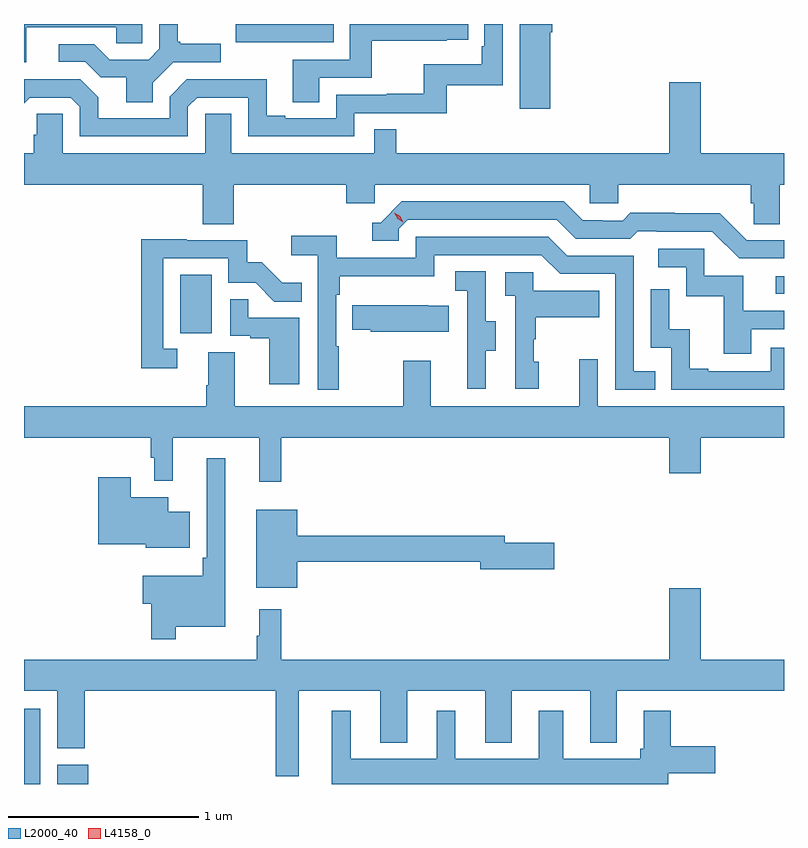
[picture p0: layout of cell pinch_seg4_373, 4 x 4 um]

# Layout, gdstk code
import gdstk
lib = gdstk.Library(unit=1e-6, precision=1e-09)
def R(c, l, rs):  # rectangles x0, y0, x1, y1
    for r in rs: c.add(gdstk.rectangle(r[:2], r[2:], *l))
def P(c, l, *ps):  # polygons
    for p in ps: c.add(gdstk.Polygon(p, *l))
L2000_40 = (2000, 40)
L4158_0 = (4158, 0)

pinch_seg4_373 = lib.new_cell('pinch_seg4_373')
R(pinch_seg4_373, L2000_40, [(1000.771,767.025,1000.857,767.422), (1000.946,767.025,1001.108,767.127), (1001.594,769.398,1001.758,769.705), (1004.727,769.605,1004.771,769.698)])
P(pinch_seg4_373, L2000_40, [(1001.634,770.589),(1001.682,770.637),(1001.952,770.637),(1001.952,770.433),(1002.51,770.433),(1002.51,770.556),(1002.997,770.556),(1002.997,770.703),(1003.29,770.703),(1003.29,771.025),(1003.194,771.025),(1003.194,770.908),(1003.181,770.908),(1003.181,770.812),(1002.876,770.812),(1002.876,770.657),(1002.679,770.657),(1002.679,770.652),(1002.414,770.652),(1002.414,770.529),(1002.145,770.529),(1002.145,770.542),(1002.049,770.542),(1002.049,770.735),(1001.844,770.735),(1001.844,770.733),(1001.628,770.733),(1001.538,770.643),(1001.538,770.529),(1001.161,770.529),(1001.161,770.639),(1001.067,770.733),(1000.771,770.733),(1000.771,770.608),(1000.8,770.637),(1001.016,770.637),(1001.064,770.589),(1001.064,770.433),(1001.634,770.433)],
  [(1002.325,770.742),(1002.602,770.742),(1002.602,770.938),(1002.995,770.938),(1002.995,770.943),(1003.108,770.943),(1003.108,771.025),(1002.486,771.025),(1002.486,770.838),(1002.185,770.838),(1002.185,770.614),(1002.325,770.614)],
  [(1000.783,771.009),(1001.257,771.009),(1001.257,770.925),(1001.394,770.925),(1001.394,771.025),(1000.771,771.025),(1000.771,770.823),(1000.783,770.823)],
  [(1001.449,770.716),(1001.556,770.823),(1001.806,770.823),(1001.806,770.92),(1001.593,770.92),(1001.593,770.932),(1001.581,770.932),(1001.581,771.025),(1001.484,771.025),(1001.484,770.895),(1001.427,770.838),(1001.221,770.838),(1001.14,770.919),(1000.953,770.919),(1000.953,770.826),(1001.094,770.826),(1001.174,770.746),(1001.309,770.746),(1001.309,770.614),(1001.449,770.614)],
  [(1002.401,771.024),(1001.982,771.024),(1001.982,771.025),(1001.886,771.025),(1001.886,770.928),(1002.401,770.928)],
  [(1003.54,770.982),(1003.552,770.982),(1003.552,771.025),(1003.379,771.025),(1003.379,770.58),(1003.54,770.58)],
  [(1001.876,770.18),(1002.467,770.18),(1002.467,770.082),(1002.618,770.082),(1002.618,770.18),(1003.749,770.18),(1003.749,770.082),(1003.899,770.082),(1003.899,770.18),(1004.597,770.18),(1004.597,770.082),(1004.611,770.082),(1004.611,769.972),(1004.748,769.972),(1004.748,770.18),(1004.771,770.18),(1004.771,770.344),(1004.332,770.344),(1004.332,770.719),(1004.168,770.719),(1004.168,770.344),(1002.731,770.344),(1002.731,770.471),(1002.615,770.471),(1002.615,770.344),(1001.863,770.344),(1001.863,770.552),(1001.724,770.552),(1001.724,770.344),(1000.974,770.344),(1000.974,770.552),(1000.837,770.552),(1000.837,770.442),(1000.823,770.442),(1000.823,770.344),(1000.771,770.344),(1000.771,770.18),(1001.711,770.18),(1001.711,769.972),(1001.876,769.972)],
  [(1004.771,769.887),(1004.574,769.887),(1004.432,770.029),(1004.196,770.029),(1004.196,770.032),(1003.963,770.032),(1003.921,769.989),(1003.818,769.989),(1003.818,769.992),(1003.711,769.992),(1003.612,770.091),(1002.759,770.091),(1002.648,769.98),(1002.605,769.98),(1002.605,769.884),(1002.744,769.884),(1002.744,769.947),(1002.792,769.995),(1003.575,769.995),(1003.674,769.896),(1003.963,769.896),(1004.002,769.935),(1004.101,769.935),(1004.101,769.932),(1004.394,769.932),(1004.535,769.791),(1004.771,769.791)],
  [(1002.427,769.328),(1002.414,769.328),(1002.414,769.601),(1002.434,769.601),(1002.434,769.697),(1002.93,769.697),(1002.93,769.809),(1003.494,769.809),(1003.593,769.71),(1003.884,769.71),(1003.884,769.101),(1004.093,769.101),(1004.093,769.197),(1003.98,769.197),(1003.98,769.806),(1003.63,769.806),(1003.531,769.905),(1002.834,769.905),(1002.834,769.794),(1002.416,769.794),(1002.416,769.91),(1002.177,769.91),(1002.177,769.808),(1002.318,769.808),(1002.318,769.101),(1002.427,769.101)],
  [(1001.578,769.317),(1001.505,769.317),(1001.505,769.791),(1001.847,769.791),(1001.847,769.662),(1001.991,769.662),(1002.089,769.564),(1002.233,769.564),(1002.233,769.663),(1002.129,769.663),(1002.022,769.77),(1001.946,769.77),(1001.946,769.887),(1001.627,769.887),(1001.627,769.892),(1001.389,769.892),(1001.389,769.212),(1001.578,769.212)],
  [(1004.599,769.419),(1004.771,769.419),(1004.771,769.515),(1004.557,769.515),(1004.557,769.701),(1004.352,769.701),(1004.352,769.842),(1004.109,769.842),(1004.109,769.746),(1004.256,769.746),(1004.256,769.593),(1004.455,769.593),(1004.455,769.29),(1004.599,769.29)],
  [(1003.201,769.306),(1003.255,769.306),(1003.255,769.461),(1003.2,769.461),(1003.2,769.724),(1003.041,769.724),(1003.041,769.621),(1003.104,769.621),(1003.104,769.317),(1003.103,769.317),(1003.103,769.104),(1003.201,769.104)],
  [(1003.48,769.248),(1003.455,769.248),(1003.455,769.367),(1003.465,769.367),(1003.465,769.481),(1003.799,769.481),(1003.799,769.621),(1003.452,769.621),(1003.452,769.719),(1003.305,769.719),(1003.305,769.595),(1003.356,769.595),(1003.356,769.104),(1003.48,769.104)],
  [(1004.771,769.32),(1004.7,769.32),(1004.7,769.197),(1004.371,769.197),(1004.371,769.21),(1004.276,769.21),(1004.276,769.418),(1004.166,769.418),(1004.166,769.63),(1004.07,769.63),(1004.07,769.32),(1004.178,769.32),(1004.178,769.101),(1004.771,769.101)],
  [(1002.22,769.479),(1001.951,769.479),(1001.951,769.577),(1001.856,769.577),(1001.856,769.383),(1001.963,769.383),(1001.963,769.371),(1002.062,769.371),(1002.062,769.128),(1002.22,769.128)],
  [(1003.007,769.543),(1002.899,769.543),(1002.899,769.546),(1002.499,769.546),(1002.499,769.417),(1002.597,769.417),(1002.597,769.406),(1003.007,769.406)],
  [(1003.694,769.261),(1003.694,769.012),(1002.913,769.012),(1002.913,769.252),(1002.766,769.252),(1002.766,769.012),(1001.881,769.012),(1001.881,769.298),(1001.741,769.298),(1001.741,769.124),(1001.729,769.124),(1001.729,769.012),(1000.771,769.012),(1000.771,768.848),(1001.437,768.848),(1001.437,768.741),(1001.457,768.741),(1001.457,768.62),(1001.555,768.62),(1001.555,768.848),(1002.008,768.848),(1002.008,768.615),(1002.125,768.615),(1002.125,768.848),(1004.168,768.848),(1004.168,768.66),(1004.332,768.66),(1004.332,768.848),(1004.771,768.848),(1004.771,769.012),(1003.791,769.012),(1003.791,769.261)],
  [(1001.569,767.852),(1001.83,767.852),(1001.83,768.739),(1001.733,768.739),(1001.733,768.217),(1001.713,768.217),(1001.713,768.121),(1001.396,768.121),(1001.396,767.974),(1001.44,767.974),(1001.44,767.787),(1001.569,767.787)],
  [(1001.644,768.457),(1001.53,768.457),(1001.53,768.535),(1001.332,768.535),(1001.332,768.64),(1001.162,768.64),(1001.162,768.287),(1001.412,768.287),(1001.412,768.269),(1001.644,768.269)],
  [(1002.208,768.196),(1003.172,768.196),(1003.172,768.154),(1003.561,768.154),(1003.561,768.296),(1003.3,768.296),(1003.3,768.332),(1002.208,768.332),(1002.208,768.469),(1001.993,768.469),(1001.993,768.059),(1002.208,768.059)],
  [(1002.217,767.516),(1002.647,767.516),(1002.647,767.243),(1002.787,767.243),(1002.787,767.516),(1003.199,767.516),(1003.199,767.243),(1003.339,767.243),(1003.339,767.516),(1003.751,767.516),(1003.751,767.243),(1003.891,767.243),(1003.891,767.516),(1004.771,767.516),(1004.771,767.68),(1004.332,767.68),(1004.332,768.055),(1004.168,768.055),(1004.168,767.68),(1002.125,767.68),(1002.125,767.944),(1002.008,767.944),(1002.008,767.804),(1001.997,767.804),(1001.997,767.68),(1000.771,767.68),(1000.771,767.516),(1000.946,767.516),(1000.946,767.212),(1001.09,767.212),(1001.09,767.516),(1002.096,767.516),(1002.096,767.067),(1002.217,767.067)],
  [(1004.161,767.081),(1004.41,767.081),(1004.41,767.223),(1004.174,767.223),(1004.174,767.41),(1004.033,767.41),(1004.033,767.211),(1004.014,767.211),(1004.014,767.158),(1003.609,767.158),(1003.609,767.41),(1003.481,767.41),(1003.481,767.158),(1003.042,767.158),(1003.042,767.41),(1002.944,767.41),(1002.944,767.158),(1002.49,767.158),(1002.49,767.41),(1002.392,767.41),(1002.392,767.025),(1004.161,767.025)])
P(pinch_seg4_373, L4158_0, [(1002.768,769.981),(1002.737,770),(1002.72,770.032),(1002.72,770.032),(1002.72,770.032),(1002.751,770.014),(1002.768,769.982),(1002.768,769.981)])

lib.write_gds('pinch_seg4_373.gds')
